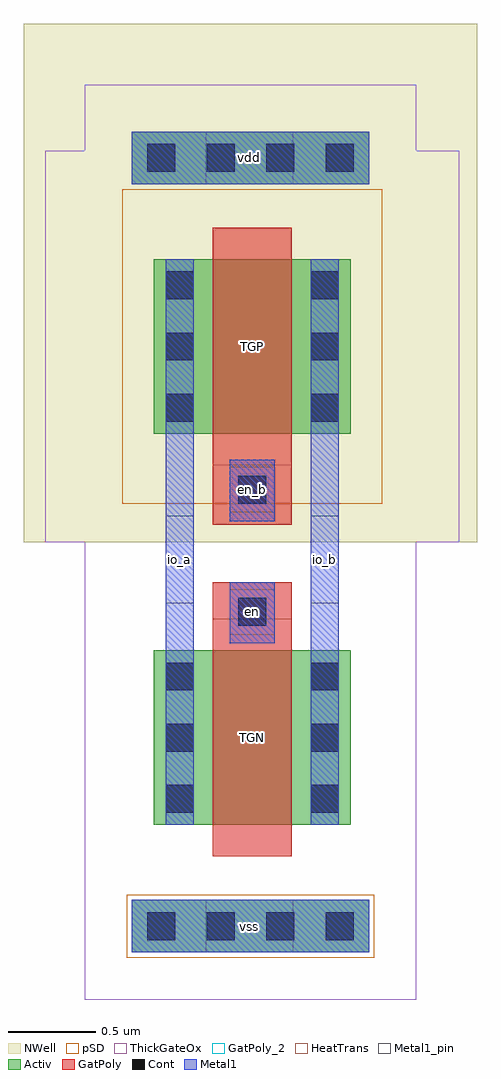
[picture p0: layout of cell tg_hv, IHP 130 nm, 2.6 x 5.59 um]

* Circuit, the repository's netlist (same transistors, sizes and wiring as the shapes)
* SPDX-FileCopyrightText: 2026 Christoph Maier
* SPDX-License-Identifier: Apache-2.0
* tg_hv (Claude, agent D, C4 2026-11-07). hv devices 1u/0.45u; every device as drawn.

.SUBCKT tg_hv en en_b io_a io_b vdd vss
MTGP io_a en_b io_b vdd sg13_hv_pmos w=1u l=0.45u ng=1 m=1
MTGN io_a en io_b vss sg13_hv_nmos w=1u l=0.45u ng=1 m=1
.ENDS tg_hv

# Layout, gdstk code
import gdstk
lib = gdstk.Library(unit=1e-6, precision=1e-09)
def R(c, l, rs):  # rectangles x0, y0, x1, y1
    for r in rs: c.add(gdstk.rectangle(r[:2], r[2:], *l))
def A(c, l, x, y, w, h, nx, ny, dx, dy):  # array of equal rectangles
    R(c, l, [(x+i*dx, y+j*dy, x+i*dx+w, y+j*dy+h) for i in range(nx) for j in range(ny)])
Activ = (1, 0)
GatPoly = (5, 0)
GatPoly_2 = (5, 2)
Cont = (6, 0)
Metal1 = (8, 0)
Metal1_pin = (8, 2)
pSD = (14, 0)
NWell = (31, 0)
ThickGateOx = (44, 0)
HeatTrans = (51, 0)

pmoshv_w1_l0p45 = lib.new_cell('pmosHV_w1_l0p45')
R(pmoshv_w1_l0p45, Activ, [(0,0,0.3,0.3), (0,0,1.13,1), (0.83,0,1.13,0.3)])
R(pmoshv_w1_l0p45, GatPoly, [(0.34,-0.18,0.79,1.18)])
R(pmoshv_w1_l0p45, GatPoly_2, [(0.34,-0.18,0.79,1.18)])
A(pmoshv_w1_l0p45, Cont, 0.07, 0.07, 0.16, 0.16, 1, 3, 0, 0.35)
A(pmoshv_w1_l0p45, Cont, 0.9, 0.07, 0.16, 0.16, 1, 3, 0, 0.35)
R(pmoshv_w1_l0p45, Metal1, [(0.07,0,0.23,1), (0.9,0,1.06,1)])
R(pmoshv_w1_l0p45, Metal1_pin, [(0.07,0,0.23,1), (0.9,0,1.06,1)])
R(pmoshv_w1_l0p45, pSD, [(-0.18,-0.4,1.31,1.4)])
R(pmoshv_w1_l0p45, NWell, [(-0.62,-0.62,1.75,1.62)])
R(pmoshv_w1_l0p45, ThickGateOx, [(-0.62,-0.62,1.75,1.62)])
R(pmoshv_w1_l0p45, HeatTrans, [(0.34,-0.18,0.79,1.18)])
pmoshv_w1_l0p45.add(gdstk.Label('pmosHV', (0.565,0.5), layer=63, texttype=0))
pmoshv_w1_l0p45.add(gdstk.Label('pmos', (0.565,0.5), layer=51, texttype=0))

nmoshv_w1_l0p45 = lib.new_cell('nmosHV_w1_l0p45')
R(nmoshv_w1_l0p45, Activ, [(0,0,0.3,0.3), (0,0,1.13,1), (0.83,0,1.13,0.3)])
R(nmoshv_w1_l0p45, GatPoly, [(0.34,-0.18,0.79,1.18)])
R(nmoshv_w1_l0p45, GatPoly_2, [(0.34,-0.18,0.79,1.18)])
A(nmoshv_w1_l0p45, Cont, 0.07, 0.07, 0.16, 0.16, 1, 3, 0, 0.35)
A(nmoshv_w1_l0p45, Cont, 0.9, 0.07, 0.16, 0.16, 1, 3, 0, 0.35)
R(nmoshv_w1_l0p45, Metal1, [(0.07,0,0.23,1), (0.9,0,1.06,1)])
R(nmoshv_w1_l0p45, Metal1_pin, [(0.07,0,0.23,1), (0.9,0,1.06,1)])
R(nmoshv_w1_l0p45, ThickGateOx, [(-0.27,-0.52,1.4,1.52)])
R(nmoshv_w1_l0p45, HeatTrans, [(0.34,-0.18,0.79,1.18)])
nmoshv_w1_l0p45.add(gdstk.Label('nmosHV', (0.565,0.5), layer=63, texttype=0))
nmoshv_w1_l0p45.add(gdstk.Label('nmosHV', (0.565,0.5), layer=51, texttype=0))

tg_hv = lib.new_cell('tg_hv')
R(tg_hv, Activ, [(-0.125,0,1.235,0.3), (-0.125,4.4,1.235,4.7)])
R(tg_hv, GatPoly, [(0.34,1.91,0.79,2.12), (0.34,2.45,0.79,2.79)])
A(tg_hv, Cont, -0.035, 0.07, 0.16, 0.16, 4, 2, 0.34, 4.4)
R(tg_hv, Cont, [(0.485,1.87,0.645,2.03), (0.485,2.57,0.645,2.73)])
R(tg_hv, Metal1, [(-0.125,0,1.235,0.3), (0.07,1.73,0.23,2.97), (0.9,1.73,1.06,2.97), (0.435,1.77,0.695,2.12), (0.435,2.47,0.695,2.82), (-0.125,4.4,1.235,4.7)])
R(tg_hv, Metal1_pin, [(0.3,0,0.8,0.3), (0.435,1.82,0.695,2.08), (0.07,2,0.23,2.5), (0.9,2,1.06,2.5), (0.435,2.52,0.695,2.78), (0.3,4.4,0.8,4.7)])
R(tg_hv, pSD, [(-0.155,-0.03,1.265,0.33)])
R(tg_hv, NWell, [(-0.745,2.35,1.855,5.32)])
R(tg_hv, ThickGateOx, [(-0.395,-0.27,1.505,4.97)])
tg_hv.add(gdstk.Reference(pmoshv_w1_l0p45, (0,2.97)))
tg_hv.add(gdstk.Reference(nmoshv_w1_l0p45, (0,0.73)))
tg_hv.add(gdstk.Label('en_b', (0.565,2.65), layer=8, texttype=25))
tg_hv.add(gdstk.Label('en', (0.565,1.95), layer=8, texttype=25))
tg_hv.add(gdstk.Label('io_a', (0.15,2.25), layer=8, texttype=25))
tg_hv.add(gdstk.Label('io_b', (0.98,2.25), layer=8, texttype=25))
tg_hv.add(gdstk.Label('vdd', (0.55,4.55), layer=8, texttype=25))
tg_hv.add(gdstk.Label('vss', (0.55,0.15), layer=8, texttype=25))
tg_hv.add(gdstk.Label('TGP', (0.565,3.47), layer=63, texttype=0))
tg_hv.add(gdstk.Label('TGN', (0.565,1.23), layer=63, texttype=0))

lib.write_gds('tg_hv.gds')
